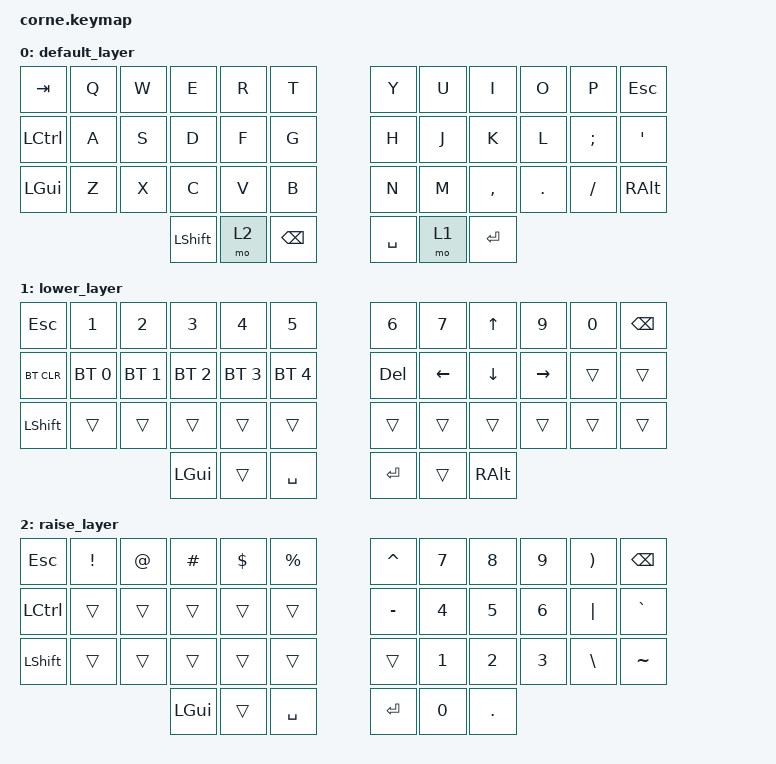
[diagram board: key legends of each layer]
/*
 * Copyright (c) 2020 The ZMK Contributors
 *
 * SPDX-License-Identifier: MIT
 */

#include <behaviors.dtsi>
#include <dt-bindings/zmk/keys.h>
#include <dt-bindings/zmk/bt.h>

/ {
        keymap {
                compatible = "zmk,keymap";

                default_layer {
// -----------------------------------------------------------------------------------------
// |  TAB |  Q  |  W  |  E  |  R  |  T  |   |  Y  |  U   |  I  |  O  |  P  | BKSP |
// | CTRL |  A  |  S  |  D  |  F  |  G  |   |  H  |  J   |  K  |  L  |  ;  |  '   |
// | SHFT |  Z  |  X  |  C  |  V  |  B  |   |  N  |  M   |  ,  |  .  |  /  | SHFT |
//                    | GUI | LWR | SPC |   | ENT | RSE  | ALT |
                        bindings = <
   &kp TAB   &kp Q &kp W &kp E &kp R &kp T   &kp Y &kp U  &kp I     &kp O   &kp P    &kp ESC
   &kp LCTRL &kp A &kp S &kp D &kp F &kp G   &kp H &kp J  &kp K     &kp L   &kp SEMI &kp SQT
   &kp LGUI &kp Z &kp X &kp C &kp V &kp B   &kp N &kp M  &kp COMMA &kp DOT &kp FSLH &kp RALT
                  &kp LSHFT &mo 2 &kp BSPC   &kp SPACE &mo 1 &kp RET
                        >;
                };
                lower_layer {
// -----------------------------------------------------------------------------------------
// |  ESC |  1  |  2  |  3  |  4  |  5  |   |  6  |  7  |  8  |  9  |  0  | BKSP |
// | BTCLR| BT1 | BT2 | BT3 | BT4 | BT5 |   | LFT | DWN |  UP | RGT |     |      |
// | SHFT |     |     |     |     |     |   |     |     |     |     |     |      |
//                    | GUI |     | SPC |   | ENT |     | ALT |
                        bindings = <
   &kp ESC    &kp N1       &kp N2       &kp N3       &kp N4       &kp N5            &kp N6   &kp N7   &kp UP &kp N9    &kp N0 &kp BSPC
   &bt BT_CLR &bt BT_SEL 0 &bt BT_SEL 1 &bt BT_SEL 2 &bt BT_SEL 3 &bt BT_SEL 4      &kp DEL &kp LEFT &kp DOWN &kp RIGHT &trans &trans
   &kp LSHFT  &trans       &trans       &trans       &trans       &trans            &trans   &trans   &trans &trans    &trans &trans
                                        &kp LGUI     &trans       &kp SPACE         &kp RET &trans &kp RALT
                        >;
                };

                raise_layer {
// -----------------------------------------------------------------------------------------
// |  ESC |  !  |  @  |  #  |  $  |  %  |   |  ^  |  &  |  *  |  (  |  )  | BKSP |
// | CTRL |     |     |     |     |     |   |  -  |  =  |  {  |  }  | "|" |  `   |
// | SHFT |     |     |     |     |     |   |  _  |  +  |  [  |  ]  |  \  |  ~   | // TODO: Fix this row when &mkp is committed
//                    | GUI |     | SPC |   | ENT |     | ALT |
                        bindings = <
   &kp  ESC  &kp EXCL  &kp AT  &kp HASH  &kp DLLR  &kp PRCNT   &kp CARET &kp N7  &kp N8 &kp N9 &kp RPAR &kp BSPC
   &kp LCTRL &trans    &trans  &trans    &trans    &trans      &kp MINUS &kp N4 &kp N5  &kp N6 &kp PIPE &kp GRAVE
   &kp LSHFT &trans    &trans  &trans    &trans    &trans      &trans    &kp N1 &kp N2 &kp N3 &kp BSLH &kp TILDE
                                   &kp LGUI &trans &kp SPACE   &kp RET &kp N0 &kp DOT
                        >;
                };
        };
};
